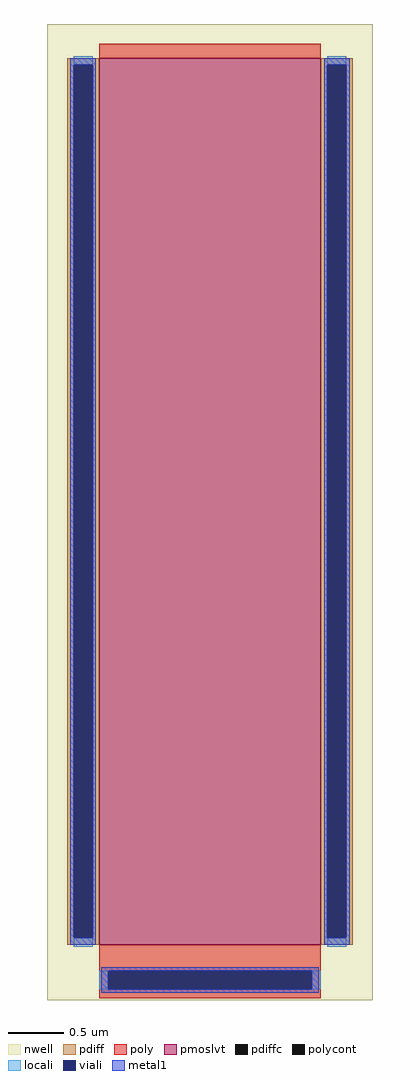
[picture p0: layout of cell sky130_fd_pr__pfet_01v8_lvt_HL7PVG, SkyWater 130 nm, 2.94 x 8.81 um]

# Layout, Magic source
magic
tech sky130A
magscale 1 2
<< nwell >>
rect -294 -864 294 898
<< pmoslvt >>
rect -200 -764 200 836
<< pdiff >>
rect -258 824 -200 836
rect -258 -752 -246 824
rect -212 -752 -200 824
rect -258 -764 -200 -752
rect 200 824 258 836
rect 200 -752 212 824
rect 246 -752 258 824
rect 200 -764 258 -752
<< pdiffc >>
rect -246 -752 -212 824
rect 212 -752 246 824
<< poly >>
rect -200 836 200 862
rect -200 -811 200 -764
rect -200 -845 -184 -811
rect 184 -845 200 -811
rect -200 -861 200 -845
<< polycont >>
rect -184 -845 184 -811
<< locali >>
rect -246 824 -212 840
rect -246 -768 -212 -752
rect 212 824 246 840
rect 212 -768 246 -752
rect -200 -845 -184 -811
rect 184 -845 200 -811
<< viali >>
rect -246 -752 -212 824
rect 212 -752 246 824
rect -184 -845 184 -811
<< metal1 >>
rect -252 824 -206 836
rect -252 -752 -246 824
rect -212 -752 -206 824
rect -252 -764 -206 -752
rect 206 824 252 836
rect 206 -752 212 824
rect 246 -752 252 824
rect 206 -764 252 -752
rect -196 -811 196 -805
rect -196 -845 -184 -811
rect 184 -845 196 -811
rect -196 -851 196 -845
<< properties >>
string gencell sky130_fd_pr__pfet_01v8_lvt
string library sky130
string parameters w 8.0 l 2.0 m 1 nf 1 diffcov 100 polycov 100 guard 0 glc 1 grc 1 gtc 1 gbc 1 tbcov 100 rlcov 100 topc 0 botc 1 poverlap 0 doverlap 1 lmin 0.35 wmin 0.42 compatible {sky130_fd_pr__pfet_01v8  sky130_fd_pr__pfet_01v8_lvt sky130_fd_pr__pfet_01v8_hvt  sky130_fd_pr__pfet_g5v0d10v5} full_metal 0 viasrc 100 viadrn 100 viagate 100 viagb 0 viagr 0 viagl 0 viagt 0
<< end >>
